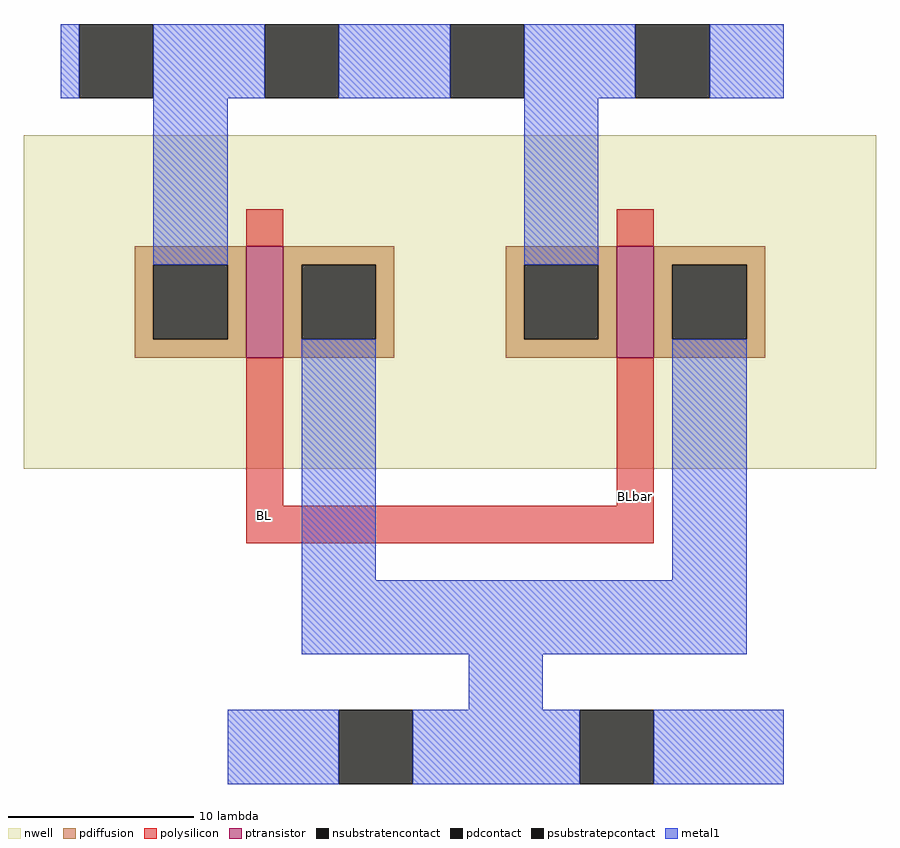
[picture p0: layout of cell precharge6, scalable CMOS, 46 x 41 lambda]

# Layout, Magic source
magic
tech scmos
<< nwell >>
rect -17 -10 29 8
<< ptransistor >>
rect -5 -4 -3 2
rect 15 -4 17 2
<< pdiffusion >>
rect -11 1 -5 2
rect -11 -3 -10 1
rect -6 -3 -5 1
rect -11 -4 -5 -3
rect -3 1 3 2
rect -3 -3 -2 1
rect 2 -3 3 1
rect -3 -4 3 -3
rect 9 1 15 2
rect 9 -3 10 1
rect 14 -3 15 1
rect 9 -4 15 -3
rect 17 1 23 2
rect 17 -3 18 1
rect 22 -3 23 1
rect 17 -4 23 -3
<< pdcontact >>
rect -10 -3 -6 1
rect -2 -3 2 1
rect 10 -3 14 1
rect 18 -3 22 1
<< psubstratepcontact >>
rect 0 -27 4 -23
rect 13 -27 17 -23
<< nsubstratencontact >>
rect -14 10 -10 14
rect -4 10 0 14
rect 6 10 10 14
rect 16 10 20 14
<< polysilicon >>
rect -5 2 -3 4
rect 15 2 17 4
rect -5 -12 -3 -4
rect 15 -12 17 -4
rect -5 -14 17 -12
<< metal1 >>
rect -15 10 -14 14
rect -10 10 -4 14
rect 0 10 6 14
rect 10 10 16 14
rect 20 10 24 14
rect -10 1 -6 10
rect 10 1 14 10
rect -2 -16 2 -3
rect 18 -16 22 -3
rect -2 -20 22 -16
rect 7 -23 11 -20
rect -6 -27 0 -23
rect 4 -27 13 -23
rect 17 -27 24 -23
<< labels >>
rlabel polysilicon -5 -14 -3 -11 1 BL
rlabel polysilicon 15 -14 17 -9 1 BLbar
<< end >>
